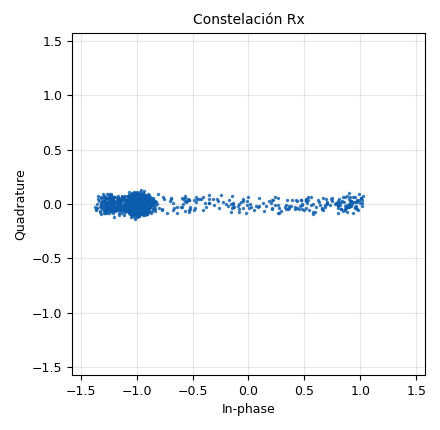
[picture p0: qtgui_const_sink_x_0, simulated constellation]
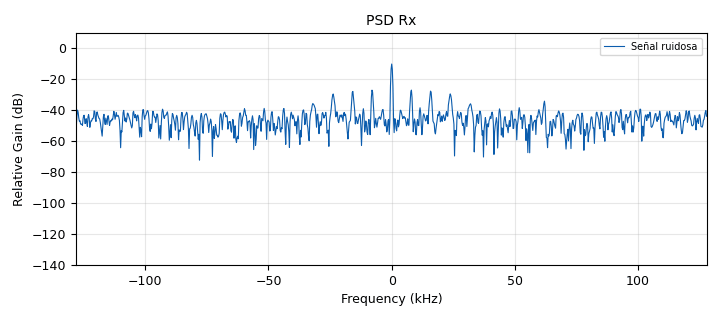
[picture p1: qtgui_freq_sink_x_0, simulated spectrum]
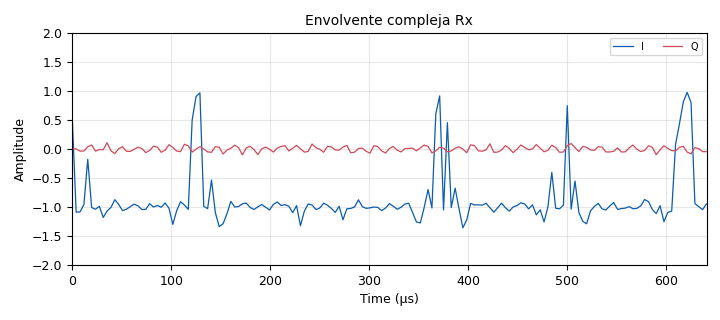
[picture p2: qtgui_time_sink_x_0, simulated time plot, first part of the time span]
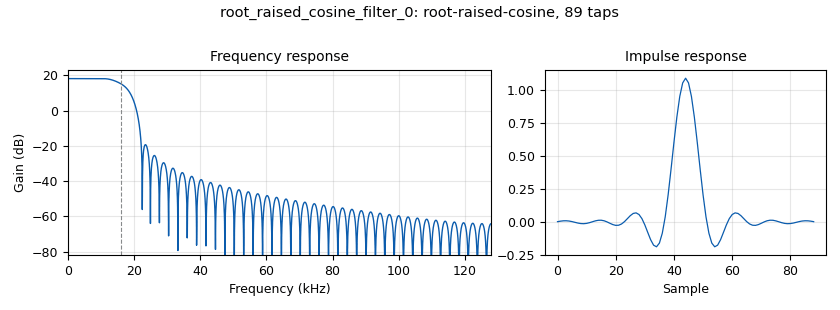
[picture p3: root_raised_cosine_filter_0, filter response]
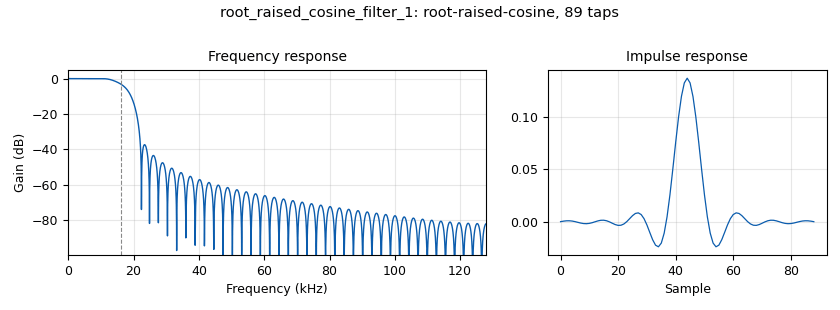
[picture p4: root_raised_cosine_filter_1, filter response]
options:
  parameters:
    comment: GRC para analizar ruido AWGN en modulaciones basadas en constelaciones
    description: GRC con AWGN para OOK ASK BPSK QPSK 8PSK y 16QAM
    generate_options: qt_gui
    id: Modulaciones_basadas_en_constelaciones_AWGN
    output_language: python
    title: Modulaciones_basadas_en_constelaciones_AWGN
  states: {}

blocks:
- name: M
  id: variable
  parameters:
    value: len(tabla_de_verdad_constelacion)
  states: {}
- name: Rb
  id: variable
  parameters:
    value: Rs*bps
  states: {}
- name: Rs
  id: variable
  parameters:
    value: '32000'
  states: {}
- name: Sps
  id: variable
  parameters:
    value: '8'
  states: {}
- name: bps
  id: variable
  parameters:
    value: int(math.log(M,2))
  states: {}
- name: h
  id: variable
  parameters:
    value: '[1]*Sps'
  states: {}
- name: noise_amp
  id: variable_qtgui_range
  parameters:
    label: Amplitud de ruido AWGN
    start: '0'
    step: '0.01'
    stop: '0.5'
    value: '0.10'
  states: {}
- name: samp_rate
  id: variable
  parameters:
    value: Rs*Sps
  states: {}
- name: tabla_de_verdad_constelacion
  id: variable
  parameters:
    comment: Cambie esta tabla para OOK ASK BPSK QPSK 8PSK o 16QAM
    value: (0+0j, 1+0j)
  states: {}
- name: analog_noise_source_x_0
  id: analog_noise_source_x
  parameters:
    amp: noise_amp
    noise_type: analog.GR_GAUSSIAN
    seed: '0'
    type: complex
  states: {}
- name: analog_random_source_x_0
  id: analog_random_source_x
  parameters:
    max: '2'
    min: '0'
    num_samps: '1000'
    repeat: 'True'
    type: byte
  states: {}
- name: analog_sig_source_x_0
  id: analog_sig_source_x
  parameters:
    amp: '0.05'
    freq: '1000'
    offset: '0'
    phase: '0'
    samp_rate: samp_rate
    type: complex
    waveform: analog.GR_COS_WAVE
  states: {}
- name: blocks_add_xx_0
  id: blocks_add_xx
  parameters:
    num_inputs: '3'
    type: complex
  states: {}
- name: blocks_pack_k_bits_bb_0
  id: blocks_pack_k_bits_bb
  parameters:
    k: '1'
  states: {}
- name: blocks_packed_to_unpacked_xx_0
  id: blocks_packed_to_unpacked_xx
  parameters:
    bits_per_chunk: bps
    endianness: gr.GR_MSB_FIRST
    type: byte
  states: {}
- name: digital_chunks_to_symbols_xx_0
  id: digital_chunks_to_symbols_xx
  parameters:
    dimension: '1'
    in_type: byte
    out_type: complex
    symbol_table: '[-1, 1]'
  states: {}
- name: digital_costas_loop_cc_0
  id: digital_costas_loop_cc
  parameters:
    order: '2'
    w: '0.0628'
  states: {}
- name: digital_symbol_sync_xx_0
  id: digital_symbol_sync_xx
  parameters:
    damping: '1.0'
    loop_bw: '0.045'
    max_dev: '1.5'
    osps: '1'
    resamp_type: digital.IR_MMSE_8TAP
    sps: '8'
    ted_gain: '1.0'
    ted_type: digital.TED_MUELLER_AND_MULLER
    type: cc
  states: {}
- name: import_0
  id: import
  parameters:
    imports: import math
  states: {}
- name: qtgui_const_sink_x_0
  id: qtgui_const_sink_x
  parameters:
    autoscale: 'True'
    grid: 'True'
    label1: '"Señal ruidosa"'
    legend: 'False'
    name: '"Constelación Rx"'
    size: '2048'
    type: complex
  states: {}
- name: qtgui_freq_sink_x_0
  id: qtgui_freq_sink_x
  parameters:
    bw: samp_rate
    fc: '0'
    fftsize: '1024'
    grid: 'True'
    label1: Señal ruidosa
    name: '"PSD Rx"'
    type: complex
  states: {}
- name: qtgui_time_sink_x_0
  id: qtgui_time_sink_x
  parameters:
    grid: 'True'
    label1: I
    label2: Q
    name: '"Envolvente compleja Rx"'
    size: '2048'
    srate: samp_rate
    type: complex
    ymax: '2'
    ymin: '-2'
  states: {}
- name: root_raised_cosine_filter_0
  id: root_raised_cosine_filter
  parameters:
    alpha: '0.35'
    gain: '8'
    interp: '8'
    ntaps: 11*8
    samp_rate: samp_rate
    sym_rate: '32000'
    type: interp_fir_filter_ccf
  states: {}
- name: root_raised_cosine_filter_1
  id: root_raised_cosine_filter
  parameters:
    alpha: '0.35'
    decim: '8'
    gain: '1'
    ntaps: 11*8
    samp_rate: samp_rate
    sym_rate: '32000'
    type: fir_filter_ccf
  states: {}
- name: throttle_0
  id: blocks_throttle2
  parameters:
    samples_per_second: samp_rate
    type: complex
  states: {}

connections:
- [analog_noise_source_x_0, '0', blocks_add_xx_0, '2']
- [analog_random_source_x_0, '0', blocks_pack_k_bits_bb_0, '0']
- [analog_sig_source_x_0, '0', blocks_add_xx_0, '1']
- [blocks_add_xx_0, '0', root_raised_cosine_filter_1, '0']
- [blocks_pack_k_bits_bb_0, '0', blocks_packed_to_unpacked_xx_0, '0']
- [blocks_packed_to_unpacked_xx_0, '0', digital_chunks_to_symbols_xx_0, '0']
- [digital_chunks_to_symbols_xx_0, '0', root_raised_cosine_filter_0, '0']
- [digital_costas_loop_cc_0, '0', qtgui_const_sink_x_0, '0']
- [digital_costas_loop_cc_0, '0', qtgui_freq_sink_x_0, '0']
- [digital_costas_loop_cc_0, '0', qtgui_time_sink_x_0, '0']
- [digital_symbol_sync_xx_0, '0', digital_costas_loop_cc_0, '0']
- [root_raised_cosine_filter_0, '0', throttle_0, '0']
- [root_raised_cosine_filter_1, '0', digital_symbol_sync_xx_0, '0']
- [throttle_0, '0', blocks_add_xx_0, '0']

metadata:
  file_format: 1
  grc_version: 3.10.12.0
